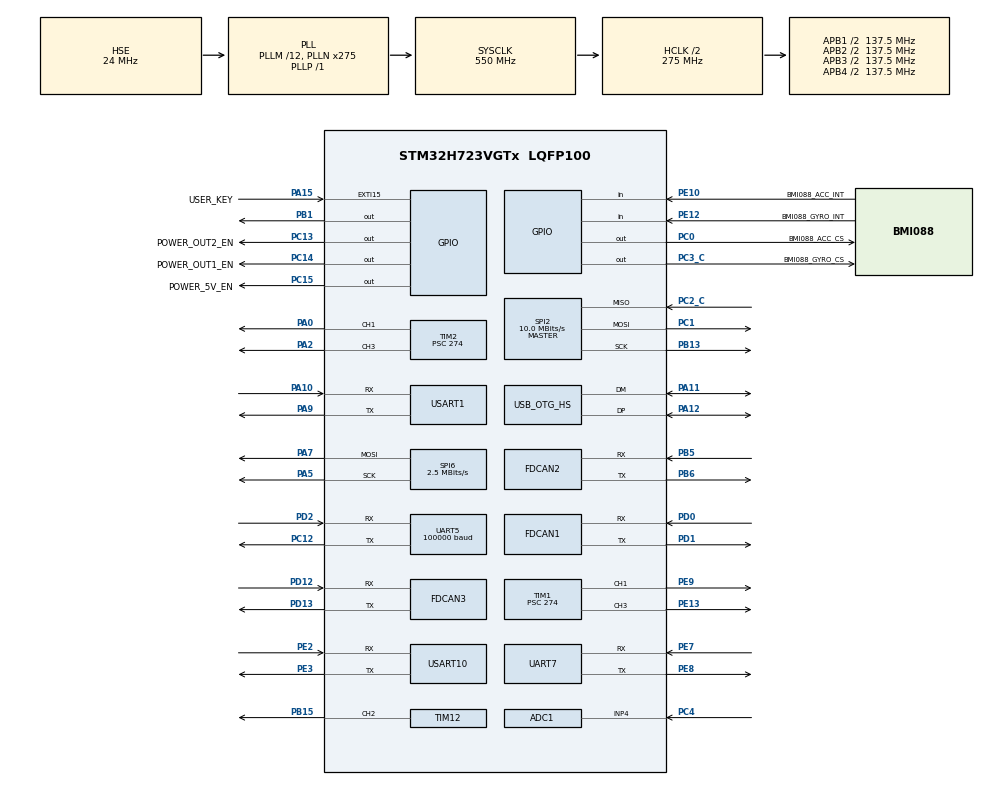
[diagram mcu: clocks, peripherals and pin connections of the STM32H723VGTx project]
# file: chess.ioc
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ADC1.Channel-0\#ChannelRegularConversion=ADC_CHANNEL_4
ADC1.ContinuousConvMode=ENABLE
ADC1.ConversionDataManagement=ADC_CONVERSIONDATA_DMA_CIRCULAR
ADC1.NbrOfConversionFlag=1
ADC1.OffsetNumber-0\#ChannelRegularConversion=ADC_OFFSET_NONE
ADC1.OffsetSignedSaturation-0\#ChannelRegularConversion=DISABLE
ADC1.Overrun=ADC_OVR_DATA_OVERWRITTEN
ADC1.Rank-0\#ChannelRegularConversion=1
ADC1.Resolution=ADC_RESOLUTION_12B
ADC1.SamplingTime-0\#ChannelRegularConversion=ADC_SAMPLETIME_1CYCLE_5
ADC1.master=1
Bdma.Request0=SPI6_TX
Bdma.RequestsNb=1
Bdma.SPI6_TX.0.Direction=DMA_MEMORY_TO_PERIPH
Bdma.SPI6_TX.0.EventEnable=DISABLE
Bdma.SPI6_TX.0.Instance=BDMA_Channel0
Bdma.SPI6_TX.0.MemDataAlignment=DMA_MDATAALIGN_BYTE
Bdma.SPI6_TX.0.MemInc=DMA_MINC_ENABLE
Bdma.SPI6_TX.0.Mode=DMA_NORMAL
Bdma.SPI6_TX.0.PeriphDataAlignment=DMA_PDATAALIGN_BYTE
Bdma.SPI6_TX.0.PeriphInc=DMA_PINC_DISABLE
Bdma.SPI6_TX.0.Polarity=HAL_DMAMUX_REQ_GEN_RISING
Bdma.SPI6_TX.0.Priority=DMA_PRIORITY_HIGH
Bdma.SPI6_TX.0.RequestNumber=1
Bdma.SPI6_TX.0.SignalID=NONE
Bdma.SPI6_TX.0.SyncEnable=DISABLE
Bdma.SPI6_TX.0.SyncPolarity=HAL_DMAMUX_SYNC_NO_EVENT
Bdma.SPI6_TX.0.SyncRequestNumber=1
Bdma.SPI6_TX.0.SyncSignalID=NONE
CORTEX_M7.CPU_ICache=Enabled
CORTEX_M7.default_mode_Activation=1
Dma.ADC1.8.Direction=DMA_PERIPH_TO_MEMORY
Dma.ADC1.8.EventEnable=DISABLE
Dma.ADC1.8.FIFOMode=DMA_FIFOMODE_DISABLE
Dma.ADC1.8.Instance=DMA2_Stream1
Dma.ADC1.8.MemDataAlignment=DMA_MDATAALIGN_HALFWORD
Dma.ADC1.8.MemInc=DMA_MINC_ENABLE
Dma.ADC1.8.Mode=DMA_CIRCULAR
Dma.ADC1.8.PeriphDataAlignment=DMA_PDATAALIGN_HALFWORD
Dma.ADC1.8.PeriphInc=DMA_PINC_DISABLE
Dma.ADC1.8.Polarity=HAL_DMAMUX_REQ_GEN_RISING
Dma.ADC1.8.Priority=DMA_PRIORITY_HIGH
Dma.ADC1.8.RequestNumber=1
Dma.ADC1.8.SignalID=NONE
Dma.ADC1.8.SyncEnable=DISABLE
Dma.ADC1.8.SyncPolarity=HAL_DMAMUX_SYNC_NO_EVENT
Dma.ADC1.8.SyncRequestNumber=1
Dma.ADC1.8.SyncSignalID=NONE
Dma.Request0=USART1_RX
Dma.Request1=USART1_TX
Dma.Request2=UART7_RX
Dma.Request3=UART7_TX
Dma.Request4=USART10_RX
Dma.Request5=USART10_TX
Dma.Request6=UART5_RX
Dma.Request7=SPI2_TX
Dma.Request8=ADC1
Dma.SPI2_TX.7.Direction=DMA_MEMORY_TO_PERIPH
Dma.SPI2_TX.7.EventEnable=DISABLE
Dma.SPI2_TX.7.FIFOMode=DMA_FIFOMODE_DISABLE
Dma.SPI2_TX.7.Instance=DMA2_Stream0
Dma.SPI2_TX.7.MemDataAlignment=DMA_MDATAALIGN_BYTE
Dma.SPI2_TX.7.MemInc=DMA_MINC_ENABLE
Dma.SPI2_TX.7.Mode=DMA_NORMAL
Dma.SPI2_TX.7.PeriphDataAlignment=DMA_PDATAALIGN_BYTE
Dma.SPI2_TX.7.PeriphInc=DMA_PINC_DISABLE
Dma.SPI2_TX.7.Polarity=HAL_DMAMUX_REQ_GEN_RISING
Dma.SPI2_TX.7.Priority=DMA_PRIORITY_HIGH
Dma.SPI2_TX.7.RequestNumber=1
Dma.SPI2_TX.7.SignalID=NONE
Dma.SPI2_TX.7.SyncEnable=DISABLE
Dma.SPI2_TX.7.SyncPolarity=HAL_DMAMUX_SYNC_NO_EVENT
Dma.SPI2_TX.7.SyncRequestNumber=1
Dma.SPI2_TX.7.SyncSignalID=NONE
Dma.UART5_RX.6.Direction=DMA_PERIPH_TO_MEMORY
Dma.UART5_RX.6.EventEnable=DISABLE
Dma.UART5_RX.6.FIFOMode=DMA_FIFOMODE_DISABLE
Dma.UART5_RX.6.Instance=DMA1_Stream6
Dma.UART5_RX.6.MemDataAlignment=DMA_MDATAALIGN_BYTE
Dma.UART5_RX.6.MemInc=DMA_MINC_ENABLE
Dma.UART5_RX.6.Mode=DMA_CIRCULAR
Dma.UART5_RX.6.PeriphDataAlignment=DMA_PDATAALIGN_BYTE
Dma.UART5_RX.6.PeriphInc=DMA_PINC_DISABLE
Dma.UART5_RX.6.Polarity=HAL_DMAMUX_REQ_GEN_RISING
Dma.UART5_RX.6.Priority=DMA_PRIORITY_VERY_HIGH
Dma.UART5_RX.6.RequestNumber=1
Dma.UART5_RX.6.SignalID=NONE
Dma.UART5_RX.6.SyncEnable=DISABLE
Dma.UART5_RX.6.SyncPolarity=HAL_DMAMUX_SYNC_NO_EVENT
Dma.UART5_RX.6.SyncRequestNumber=1
Dma.UART5_RX.6.SyncSignalID=NONE
Dma.UART7_RX.2.Direction=DMA_PERIPH_TO_MEMORY
Dma.UART7_RX.2.EventEnable=DISABLE
Dma.UART7_RX.2.FIFOMode=DMA_FIFOMODE_DISABLE
Dma.UART7_RX.2.Instance=DMA1_Stream2
Dma.UART7_RX.2.MemDataAlignment=DMA_MDATAALIGN_BYTE
Dma.UART7_RX.2.MemInc=DMA_MINC_ENABLE
Dma.UART7_RX.2.Mode=DMA_CIRCULAR
Dma.UART7_RX.2.PeriphDataAlignment=DMA_PDATAALIGN_BYTE
Dma.UART7_RX.2.PeriphInc=DMA_PINC_DISABLE
Dma.UART7_RX.2.Polarity=HAL_DMAMUX_REQ_GEN_RISING
Dma.UART7_RX.2.Priority=DMA_PRIORITY_MEDIUM
Dma.UART7_RX.2.RequestNumber=1
Dma.UART7_RX.2.SignalID=NONE
Dma.UART7_RX.2.SyncEnable=DISABLE
Dma.UART7_RX.2.SyncPolarity=HAL_DMAMUX_SYNC_NO_EVENT
Dma.UART7_RX.2.SyncRequestNumber=1
Dma.UART7_RX.2.SyncSignalID=NONE
Dma.UART7_TX.3.Direction=DMA_MEMORY_TO_PERIPH
Dma.UART7_TX.3.EventEnable=DISABLE
Dma.UART7_TX.3.FIFOMode=DMA_FIFOMODE_DISABLE
Dma.UART7_TX.3.Instance=DMA1_Stream3
Dma.UART7_TX.3.MemDataAlignment=DMA_MDATAALIGN_BYTE
Dma.UART7_TX.3.MemInc=DMA_MINC_ENABLE
Dma.UART7_TX.3.Mode=DMA_NORMAL
Dma.UART7_TX.3.PeriphDataAlignment=DMA_PDATAALIGN_BYTE
Dma.UART7_TX.3.PeriphInc=DMA_PINC_DISABLE
Dma.UART7_TX.3.Polarity=HAL_DMAMUX_REQ_GEN_RISING
Dma.UART7_TX.3.Priority=DMA_PRIORITY_HIGH
Dma.UART7_TX.3.RequestNumber=1
Dma.UART7_TX.3.SignalID=NONE
Dma.UART7_TX.3.SyncEnable=DISABLE
Dma.UART7_TX.3.SyncPolarity=HAL_DMAMUX_SYNC_NO_EVENT
Dma.UART7_TX.3.SyncRequestNumber=1
Dma.UART7_TX.3.SyncSignalID=NONE
Dma.USART10_RX.4.Direction=DMA_PERIPH_TO_MEMORY
Dma.USART10_RX.4.EventEnable=DISABLE
Dma.USART10_RX.4.FIFOMode=DMA_FIFOMODE_DISABLE
Dma.USART10_RX.4.Instance=DMA1_Stream4
Dma.USART10_RX.4.MemDataAlignment=DMA_MDATAALIGN_BYTE
Dma.USART10_RX.4.MemInc=DMA_MINC_ENABLE
Dma.USART10_RX.4.Mode=DMA_CIRCULAR
Dma.USART10_RX.4.PeriphDataAlignment=DMA_PDATAALIGN_BYTE
Dma.USART10_RX.4.PeriphInc=DMA_PINC_DISABLE
Dma.USART10_RX.4.Polarity=HAL_DMAMUX_REQ_GEN_RISING
Dma.USART10_RX.4.Priority=DMA_PRIORITY_MEDIUM
Dma.USART10_RX.4.RequestNumber=1
Dma.USART10_RX.4.SignalID=NONE
Dma.USART10_RX.4.SyncEnable=DISABLE
Dma.USART10_RX.4.SyncPolarity=HAL_DMAMUX_SYNC_NO_EVENT
Dma.USART10_RX.4.SyncRequestNumber=1
Dma.USART10_RX.4.SyncSignalID=NONE
Dma.USART10_TX.5.Direction=DMA_MEMORY_TO_PERIPH
Dma.USART10_TX.5.EventEnable=DISABLE
Dma.USART10_TX.5.FIFOMode=DMA_FIFOMODE_DISABLE
Dma.USART10_TX.5.Instance=DMA1_Stream5
Dma.USART10_TX.5.MemDataAlignment=DMA_MDATAALIGN_BYTE
Dma.USART10_TX.5.MemInc=DMA_MINC_ENABLE
Dma.USART10_TX.5.Mode=DMA_NORMAL
Dma.USART10_TX.5.PeriphDataAlignment=DMA_PDATAALIGN_BYTE
Dma.USART10_TX.5.PeriphInc=DMA_PINC_DISABLE
Dma.USART10_TX.5.Polarity=HAL_DMAMUX_REQ_GEN_RISING
Dma.USART10_TX.5.Priority=DMA_PRIORITY_HIGH
Dma.USART10_TX.5.RequestNumber=1
Dma.USART10_TX.5.SignalID=NONE
Dma.USART10_TX.5.SyncEnable=DISABLE
Dma.USART10_TX.5.SyncPolarity=HAL_DMAMUX_SYNC_NO_EVENT
Dma.USART10_TX.5.SyncRequestNumber=1
Dma.USART10_TX.5.SyncSignalID=NONE
Dma.USART1_RX.0.Direction=DMA_PERIPH_TO_MEMORY
Dma.USART1_RX.0.EventEnable=DISABLE
Dma.USART1_RX.0.FIFOMode=DMA_FIFOMODE_DISABLE
Dma.USART1_RX.0.Instance=DMA1_Stream0
Dma.USART1_RX.0.MemDataAlignment=DMA_MDATAALIGN_BYTE
Dma.USART1_RX.0.MemInc=DMA_MINC_ENABLE
Dma.USART1_RX.0.Mode=DMA_CIRCULAR
Dma.USART1_RX.0.PeriphDataAlignment=DMA_PDATAALIGN_BYTE
Dma.USART1_RX.0.PeriphInc=DMA_PINC_DISABLE
Dma.USART1_RX.0.Polarity=HAL_DMAMUX_REQ_GEN_RISING
Dma.USART1_RX.0.Priority=DMA_PRIORITY_MEDIUM
Dma.USART1_RX.0.RequestNumber=1
Dma.USART1_RX.0.SignalID=NONE
Dma.USART1_RX.0.SyncEnable=DISABLE
Dma.USART1_RX.0.SyncPolarity=HAL_DMAMUX_SYNC_NO_EVENT
Dma.USART1_RX.0.SyncRequestNumber=1
Dma.USART1_RX.0.SyncSignalID=NONE
Dma.USART1_TX.1.Direction=DMA_MEMORY_TO_PERIPH
Dma.USART1_TX.1.EventEnable=DISABLE
Dma.USART1_TX.1.FIFOMode=DMA_FIFOMODE_DISABLE
Dma.USART1_TX.1.Instance=DMA1_Stream1
Dma.USART1_TX.1.MemDataAlignment=DMA_MDATAALIGN_BYTE
Dma.USART1_TX.1.MemInc=DMA_MINC_ENABLE
Dma.USART1_TX.1.Mode=DMA_NORMAL
Dma.USART1_TX.1.PeriphDataAlignment=DMA_PDATAALIGN_BYTE
Dma.USART1_TX.1.PeriphInc=DMA_PINC_DISABLE
Dma.USART1_TX.1.Polarity=HAL_DMAMUX_REQ_GEN_RISING
Dma.USART1_TX.1.Priority=DMA_PRIORITY_HIGH
Dma.USART1_TX.1.RequestNumber=1
Dma.USART1_TX.1.SignalID=NONE
Dma.USART1_TX.1.SyncEnable=DISABLE
Dma.USART1_TX.1.SyncPolarity=HAL_DMAMUX_SYNC_NO_EVENT
Dma.USART1_TX.1.SyncRequestNumber=1
Dma.USART1_TX.1.SyncSignalID=NONE
FDCAN1.AutoRetransmission=ENABLE
FDCAN1.CalculateBaudRateNominal=1000000
FDCAN1.CalculateTimeBitNominal=1000
FDCAN1.CalculateTimeQuantumNominal=62.5
FDCAN1.ExtFiltersNbr=8
FDCAN1.NominalPrescaler=5
FDCAN1.NominalSyncJumpWidth=2
FDCAN1.NominalTimeSeg1=13
FDCAN1.NominalTimeSeg2=2
FDCAN1.RxFifo0ElmtsNbr=32
FDCAN1.StdFiltersNbr=16
FDCAN1.TxEventsNbr=8
FDCAN1.TxFifoQueueElmtsNbr=16
FDCAN2.AutoRetransmission=ENABLE
FDCAN2.CalculateBaudRateNominal=1000000
FDCAN2.CalculateTimeBitNominal=1000
FDCAN2.CalculateTimeQuantumNominal=62.5
FDCAN2.ExtFiltersNbr=8
FDCAN2.MessageRAMOffset=256
FDCAN2.NominalPrescaler=5
FDCAN2.NominalSyncJumpWidth=2
FDCAN2.NominalTimeSeg1=13
FDCAN2.NominalTimeSeg2=2
FDCAN2.RxFifo0ElmtsNbr=32
FDCAN2.StdFiltersNbr=16
FDCAN2.TxEventsNbr=8
FDCAN2.TxFifoQueueElmtsNbr=16
FDCAN3.AutoRetransmission=ENABLE
FDCAN3.CalculateBaudRateNominal=1000000
FDCAN3.CalculateTimeBitNominal=1000
FDCAN3.CalculateTimeQuantumNominal=62.5
FDCAN3.ExtFiltersNbr=8
FDCAN3.MessageRAMOffset=512
FDCAN3.NominalPrescaler=5
FDCAN3.NominalSyncJumpWidth=2
FDCAN3.NominalTimeSeg1=13
FDCAN3.NominalTimeSeg2=2
FDCAN3.RxFifo0ElmtsNbr=32
FDCAN3.StdFiltersNbr=16
FDCAN3.TransmitPause=DISABLE
FDCAN3.TxEventsNbr=8
FDCAN3.TxFifoQueueElmtsNbr=16
FREERTOS.Tasks01=sensor,40,128,seneor_task_entry,Default,NULL,Dynamic,NULL,NULL;printf,24,256,printf_entry,Default,NULL,Dynamic,NULL,NULL;usb,40,256,usb_entry,Default,NULL,Dynamic,NULL,NULL;test,40,256,test_task_entry,Default,NULL,Dynamic,NULL,NULL;vacuum,8,128,vacuum_entry,Default,NULL,Dynamic,NULL,NULL
FREERTOS.configCHECK_FOR_STACK_OVERFLOW=2
FREERTOS.configENABLE_FPU=1
FREERTOS.configTOTAL_HEAP_SIZE=32768
FREERTOS.configUSE_MALLOC_FAILED_HOOK=1
FREERTOS.configUSE_STATS_FORMATTING_FUNCTIONS=1
Mcu.Family=STM32H7
Mcu.Name=STM32H723VGTx
Mcu.Package=LQFP100
NVIC.BDMA_Channel0_IRQn=true\:5\:0\:false\:false\:true\:true\:false\:true\:true
NVIC.DMA1_Stream0_IRQn=true\:5\:0\:false\:false\:true\:true\:false\:true\:true
NVIC.DMA1_Stream1_IRQn=true\:5\:0\:false\:false\:true\:true\:false\:true\:true
NVIC.DMA1_Stream2_IRQn=true\:5\:0\:false\:false\:true\:true\:false\:true\:true
NVIC.DMA1_Stream3_IRQn=true\:5\:0\:false\:false\:true\:true\:false\:true\:true
NVIC.DMA1_Stream4_IRQn=true\:5\:0\:false\:false\:true\:true\:false\:true\:true
NVIC.DMA1_Stream5_IRQn=true\:5\:0\:false\:false\:true\:true\:false\:true\:true
NVIC.DMA1_Stream6_IRQn=true\:5\:0\:false\:false\:true\:true\:false\:true\:true
NVIC.DMA2_Stream0_IRQn=true\:5\:0\:false\:false\:true\:true\:false\:true\:true
NVIC.DMA2_Stream1_IRQn=true\:5\:0\:false\:false\:true\:true\:false\:true\:true
NVIC.EXTI15_10_IRQn=true\:5\:0\:false\:false\:true\:true\:true\:true\:true
NVIC.OTG_HS_IRQn=true\:5\:0\:false\:false\:true\:true\:true\:true\:true
NVIC.PriorityGroup=NVIC_PRIORITYGROUP_4
NVIC.SPI2_IRQn=true\:5\:0\:false\:false\:true\:true\:false\:true\:true
NVIC.SPI6_IRQn=true\:5\:0\:false\:false\:true\:true\:false\:true\:true
NVIC.TIM6_DAC_IRQn=true\:15\:0\:false\:false\:true\:false\:false\:true\:true
NVIC.TimeBase=TIM6_DAC_IRQn
NVIC.TimeBaseIP=TIM6
NVIC.UART5_IRQn=true\:5\:0\:false\:false\:true\:true\:true\:true\:true
NVIC.UART7_IRQn=true\:5\:0\:false\:false\:true\:true\:false\:true\:true
NVIC.USART10_IRQn=true\:5\:0\:false\:false\:true\:true\:false\:true\:true
NVIC.USART1_IRQn=true\:5\:0\:false\:false\:true\:true\:false\:true\:true
PA0.GPIO_Speed=GPIO_SPEED_FREQ_VERY_HIGH
PA0.Signal=S_TIM2_CH1_ETR
PA10.Mode=Asynchronous
PA10.Signal=USART1_RX
PA11.Mode=Device_Only_FS
PA11.Signal=USB_OTG_HS_DM
PA12.Mode=Device_Only_FS
PA12.Signal=USB_OTG_HS_DP
PA13(JTMS/SWDIO).Mode=Serial_Wire
PA13(JTMS/SWDIO).Signal=DEBUG_JTMS-SWDIO
PA14(JTCK/SWCLK).Mode=Serial_Wire
PA14(JTCK/SWCLK).Signal=DEBUG_JTCK-SWCLK
PA15(JTDI).GPIO_Label=USER_KEY
PA15(JTDI).GPIO_ModeDefaultEXTI=GPIO_MODE_IT_FALLING
PA15(JTDI).GPIO_PuPd=GPIO_NOPULL
PA15(JTDI).Signal=GPXTI15
PA2.GPIO_Speed=GPIO_SPEED_FREQ_VERY_HIGH
PA2.Signal=S_TIM2_CH3
PA5.Mode=TX_Only_Simplex_Unidirect_Master
PA5.Signal=SPI6_SCK
PA7.GPIO_Speed=GPIO_SPEED_FREQ_VERY_HIGH
PA7.Mode=TX_Only_Simplex_Unidirect_Master
PA7.Signal=SPI6_MOSI
PA9.Mode=Asynchronous
PA9.Signal=USART1_TX
PB1.Signal=GPIO_Output
PB13.Mode=Full_Duplex_Master
PB13.Signal=SPI2_SCK
PB15.Signal=S_TIM12_CH2
PB5.Mode=FDCAN_Activate
PB5.Signal=FDCAN2_RX
PB6.Mode=FDCAN_Activate
PB6.Signal=FDCAN2_TX
PC0.GPIO_Label=BMI088_ACC_CS
PC0.GPIO_ModeDefaultOutputPP=GPIO_MODE_OUTPUT_PP
PC0.GPIO_Speed=GPIO_SPEED_FREQ_HIGH
PC0.PinState=GPIO_PIN_SET
PC0.Signal=GPIO_Output
PC1.Mode=Full_Duplex_Master
PC1.Signal=SPI2_MOSI
PC12.Mode=Asynchronous
PC12.Signal=UART5_TX
PC13.GPIO_Label=POWER_OUT2_EN
PC13.GPIO_PuPd=GPIO_NOPULL
PC13.Signal=GPIO_Output
PC14-OSC32_IN.GPIO_Label=POWER_OUT1_EN
PC14-OSC32_IN.Signal=GPIO_Output
PC15-OSC32_OUT.GPIO_Label=POWER_5V_EN
PC15-OSC32_OUT.Signal=GPIO_Output
PC2_C.Mode=Full_Duplex_Master
PC2_C.Signal=SPI2_MISO
PC3_C.GPIO_Label=BMI088_GYRO_CS
PC3_C.GPIO_Speed=GPIO_SPEED_FREQ_VERY_HIGH
PC3_C.PinState=GPIO_PIN_SET
PC3_C.Signal=GPIO_Output
PC4.Signal=ADCx_INP4
PD0.Mode=FDCAN_Activate
PD0.Signal=FDCAN1_RX
PD1.Mode=FDCAN_Activate
PD1.Signal=FDCAN1_TX
PD12.Mode=FDCAN_Activate
PD12.Signal=FDCAN3_RX
PD13.Mode=FDCAN_Activate
PD13.Signal=FDCAN3_TX
PD2.Mode=Asynchronous
PD2.Signal=UART5_RX
PE10.GPIO_Label=BMI088_ACC_INT
PE10.Signal=GPIO_Input
PE12.GPIO_Label=BMI088_GYRO_INT
PE12.Signal=GPIO_Input
PE13.Signal=S_TIM1_CH3
PE2.Mode=Asynchronous
PE2.Signal=USART10_RX
PE3.Mode=Asynchronous
PE3.Signal=USART10_TX
PE7.Mode=Asynchronous
PE7.Signal=UART7_RX
PE8.Mode=Asynchronous
PE8.Signal=UART7_TX
PE9.Signal=S_TIM1_CH1
PH0-OSC_IN.Mode=HSE-External-Oscillator
PH0-OSC_IN.Signal=RCC_OSC_IN
PH1-OSC_OUT.Mode=HSE-External-Oscillator
PH1-OSC_OUT.Signal=RCC_OSC_OUT
ProjectManager.HeapSize=0x200
ProjectManager.StackSize=0x400
ProjectManager.TargetToolchain=CMake
RCC.ADCFreq_Value=160000000
RCC.APB1Freq_Value=137500000
RCC.APB2Freq_Value=137500000
RCC.APB3Freq_Value=137500000
RCC.APB4Freq_Value=137500000
RCC.CortexFreq_Value=550000000
RCC.D1PPRE=RCC_APB3_DIV2
RCC.D2PPRE1=RCC_APB1_DIV2
RCC.D2PPRE2=RCC_APB2_DIV2
RCC.D3PPRE=RCC_APB4_DIV2
RCC.DIVM1=12
RCC.DIVM2=12
RCC.DIVM3=12
RCC.DIVN1=275
RCC.DIVN2=160
RCC.DIVN3=120
RCC.DIVP1=1
RCC.DIVP3=3
RCC.DIVQ1=5
RCC.DIVQ2=4
RCC.DIVQ3=5
RCC.FDCANCLockSelection=RCC_FDCANCLKSOURCE_PLL2
RCC.HCLKFreq_Value=275000000
RCC.HPRE=RCC_HCLK_DIV2
RCC.HSE_VALUE=24000000
RCC.PLL1_VCI_Range-AdvancedSettings=RCC_PLL1VCIRANGE_3
RCC.PLL2FRACN=0
RCC.PLL3FRACN=0
RCC.PLLFRACN=0
RCC.PLLSourceVirtual=RCC_PLLSOURCE_HSE
RCC.SPI123CLockSelection=RCC_SPI123CLKSOURCE_PLL3
RCC.SPI6CLockSelection=RCC_SPI6CLKSOURCE_PLL2
RCC.SYSCLKFreq_VALUE=550000000
RCC.SYSCLKSource=RCC_SYSCLKSOURCE_PLLCLK
RCC.USBCLockSelection=RCC_USBCLKSOURCE_PLL3
RCC.USBFreq_Value=48000000
SH.ADCx_INP4.0=ADC1_INP4,IN4-Single-Ended
SH.S_TIM12_CH2.0=TIM12_CH2,PWM Generation2 CH2
SH.S_TIM1_CH1.0=TIM1_CH1,PWM Generation1 CH1
SH.S_TIM1_CH3.0=TIM1_CH3,PWM Generation3 CH3
SH.S_TIM2_CH1_ETR.0=TIM2_CH1,PWM Generation1 CH1
SH.S_TIM2_CH3.0=TIM2_CH3,PWM Generation3 CH3
SPI2.BaudRatePrescaler=SPI_BAUDRATEPRESCALER_8
SPI2.CalculateBaudRate=10.0 MBits/s
SPI2.DataSize=SPI_DATASIZE_8BIT
SPI2.Direction=SPI_DIRECTION_2LINES
SPI2.MasterKeepIOState=SPI_MASTER_KEEP_IO_STATE_ENABLE
SPI2.Mode=SPI_MODE_MASTER
SPI2.NSSPMode=SPI_NSS_PULSE_DISABLE
SPI2.VirtualType=VM_MASTER
SPI6.BaudRatePrescaler=SPI_BAUDRATEPRESCALER_32
SPI6.CalculateBaudRate=2.5 MBits/s
SPI6.DataSize=SPI_DATASIZE_8BIT
SPI6.Direction=SPI_DIRECTION_2LINES_TXONLY
SPI6.MasterKeepIOState=SPI_MASTER_KEEP_IO_STATE_ENABLE
SPI6.Mode=SPI_MODE_MASTER
SPI6.NSSPMode=SPI_NSS_PULSE_DISABLE
SPI6.VirtualType=VM_MASTER
TIM1.AutoReloadPreload=TIM_AUTORELOAD_PRELOAD_ENABLE
TIM1.Channel-PWM\ Generation1\ CH1=TIM_CHANNEL_1
TIM1.Channel-PWM\ Generation3\ CH3=TIM_CHANNEL_3
TIM1.Period=19999
TIM1.Prescaler=274
TIM12.AutoReloadPreload=TIM_AUTORELOAD_PRELOAD_ENABLE
TIM12.Channel-PWM\ Generation2\ CH2=TIM_CHANNEL_2
TIM12.Period=249
TIM12.Prescaler=274
TIM2.AutoReloadPreload=TIM_AUTORELOAD_PRELOAD_ENABLE
TIM2.Channel-PWM\ Generation1\ CH1=TIM_CHANNEL_1
TIM2.Channel-PWM\ Generation3\ CH3=TIM_CHANNEL_3
TIM2.Period=19999
TIM2.Prescaler=274
TIM3.AutoReloadPreload=TIM_AUTORELOAD_PRELOAD_ENABLE
TIM3.Period=49
TIM3.Prescaler=274
UART5.BaudRate=100000
UART5.Mode=MODE_RX
UART5.Parity=PARITY_EVEN
UART5.StopBits=UART_STOPBITS_2
UART5.WordLength=WORDLENGTH_9B
USART1.VirtualMode-Asynchronous=VM_ASYNC
USART10.VirtualMode=VM_ASYNC
USB_DEVICE.CLASS_NAME_HS=CDC
USB_DEVICE.USBD_LPM_ENABLED=0
USB_DEVICE.USBD_SELF_POWERED=0
USB_DEVICE.VirtualMode=Cdc
USB_DEVICE.VirtualModeHS=Cdc_HS
USB_OTG_HS.VirtualMode-Device_Only_FS=Device_Only_FS
VP_FREERTOS_VS_CMSIS_V2.Mode=CMSIS_V2
VP_MEMORYMAP_VS_MEMORYMAP.Mode=CurAppReg
VP_SYS_VS_tim6.Mode=TIM6
VP_TIM12_VS_ClockSourceINT.Mode=Internal
VP_TIM1_VS_ClockSourceINT.Mode=Internal
VP_TIM2_VS_ClockSourceINT.Mode=Internal
VP_TIM3_VS_ClockSourceINT.Mode=Internal
VP_USB_DEVICE_VS_USB_DEVICE_CDC_HS.Mode=CDC_HS
board=custom

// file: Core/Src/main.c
/* USER CODE BEGIN Header */
/**
  ******************************************************************************
  * @file           : main.c
  * @brief          : Main program body
  ******************************************************************************
  * @attention
  *
  * Copyright (c) 2026 STMicroelectronics.
  * All rights reserved.
  *
  * This software is licensed under terms that can be found in the LICENSE file
  * in the root directory of this software component.
  * If no LICENSE file comes with this software, it is provided AS-IS.
  *
  ******************************************************************************
  */
/* USER CODE END Header */
#include "main.h"
#include "FreeRTOS.h"
#include "cmsis_os2.h"
#include "adc.h"
#include "bdma.h"
#include "dma.h"
#include "fdcan.h"
#include "spi.h"
#include "tim.h"
#include "usart.h"
#include "usb_device.h"
#include "gpio.h"

/* USER CODE BEGIN Includes */

# include "../../bsp/LED/LED.h"
# include "../../bsp/can/can.h"
#include "../../bsp/pwm/pwm.h"
# include "../../device/motor/motor.h"

/* USER CODE END Includes */

void SystemClock_Config(void);
void PeriphCommonClock_Config(void);
static void MPU_Config(void);
void MX_FREERTOS_Init(void);

int main(void)
{

  /* MPU Configuration--------------------------------------------------------*/
  MPU_Config();

  /* Enable the CPU Cache */

  /* Enable I-Cache---------------------------------------------------------*/
  SCB_EnableICache();

  /* MCU Configuration--------------------------------------------------------*/

  /* Reset of all peripherals, Initializes the Flash interface and the Systick. */
  HAL_Init();

  /* Configure the system clock */
  SystemClock_Config();

  /* Configure the peripherals common clocks */
  PeriphCommonClock_Config();

  /* Initialize all configured peripherals */
  MX_GPIO_Init();
  MX_DMA_Init();
  MX_BDMA_Init();
  MX_UART7_Init();
  MX_USART10_UART_Init();
  MX_USART1_UART_Init();
  MX_FDCAN1_Init();
  MX_FDCAN2_Init();
  MX_FDCAN3_Init();
  MX_SPI6_Init();
  MX_TIM1_Init();
  MX_TIM2_Init();
  MX_UART5_Init();
  MX_SPI2_Init();
  MX_TIM12_Init();
  MX_ADC1_Init();
  MX_TIM3_Init();
  /* USER CODE BEGIN 2 */
   LED_init();
   can_init();
   Motor_System_PowerOn_Init();
  // HAL_GPIO_WritePin(GPIOC, GPIO_PIN_15, GPIO_PIN_SET);
   LED_YELLOW_SET();
   // HAL_Delay(2000);
   // LED_off();
  pwm_power_enable();
  pwm_set_pulse_us(PWM_CHANNEL_1, 20000U);

  /* USER CODE END 2 */

  /* Init scheduler */
  osKernelInitialize();  /* Call init function for freertos objects (in cmsis_os2.c) */
  MX_FREERTOS_Init();

  /* Start scheduler */
  osKernelStart();

  /* We should never get here as control is now taken by the scheduler */

  /* Infinite loop */
  while (1)
  {

  }
}

void SystemClock_Config(void)
{
  RCC_OscInitTypeDef RCC_OscInitStruct = {0};
  RCC_ClkInitTypeDef RCC_ClkInitStruct = {0};

  /** Supply configuration update enable
  */
  HAL_PWREx_ConfigSupply(PWR_LDO_SUPPLY);

  /** Configure the main internal regulator output voltage
  */
  __HAL_PWR_VOLTAGESCALING_CONFIG(PWR_REGULATOR_VOLTAGE_SCALE0);

  while(!__HAL_PWR_GET_FLAG(PWR_FLAG_VOSRDY)) {}

  /** Initializes the RCC Oscillators according to the specified parameters
  * in the RCC_OscInitTypeDef structure.
  */
  RCC_OscInitStruct.OscillatorType = RCC_OSCILLATORTYPE_HSE;
  RCC_OscInitStruct.HSEState = RCC_HSE_ON;
  RCC_OscInitStruct.PLL.PLLState = RCC_PLL_ON;
  RCC_OscInitStruct.PLL.PLLSource = RCC_PLLSOURCE_HSE;
  RCC_OscInitStruct.PLL.PLLM = 12;
  RCC_OscInitStruct.PLL.PLLN = 275;
  RCC_OscInitStruct.PLL.PLLP = 1;
  RCC_OscInitStruct.PLL.PLLQ = 5;
  RCC_OscInitStruct.PLL.PLLR = 2;
  RCC_OscInitStruct.PLL.PLLRGE = RCC_PLL1VCIRANGE_1;
  RCC_OscInitStruct.PLL.PLLVCOSEL = RCC_PLL1VCOWIDE;
  RCC_OscInitStruct.PLL.PLLFRACN = 0;
  if (HAL_RCC_OscConfig(&RCC_OscInitStruct) != HAL_OK)
  {
    Error_Handler();
  }

  /** Initializes the CPU, AHB and APB buses clocks
  */
  RCC_ClkInitStruct.ClockType = RCC_CLOCKTYPE_HCLK|RCC_CLOCKTYPE_SYSCLK
                              |RCC_CLOCKTYPE_PCLK1|RCC_CLOCKTYPE_PCLK2
                              |RCC_CLOCKTYPE_D3PCLK1|RCC_CLOCKTYPE_D1PCLK1;
  RCC_ClkInitStruct.SYSCLKSource = RCC_SYSCLKSOURCE_PLLCLK;
  RCC_ClkInitStruct.SYSCLKDivider = RCC_SYSCLK_DIV1;
  RCC_ClkInitStruct.AHBCLKDivider = RCC_HCLK_DIV2;
  RCC_ClkInitStruct.APB3CLKDivider = RCC_APB3_DIV2;
  RCC_ClkInitStruct.APB1CLKDivider = RCC_APB1_DIV2;
  RCC_ClkInitStruct.APB2CLKDivider = RCC_APB2_DIV2;
  RCC_ClkInitStruct.APB4CLKDivider = RCC_APB4_DIV2;

  if (HAL_RCC_ClockConfig(&RCC_ClkInitStruct, FLASH_LATENCY_3) != HAL_OK)
  {
    Error_Handler();
  }
}

void PeriphCommonClock_Config(void)
{
  RCC_PeriphCLKInitTypeDef PeriphClkInitStruct = {0};

  /** Initializes the peripherals clock
  */
  PeriphClkInitStruct.PeriphClockSelection = RCC_PERIPHCLK_USB|RCC_PERIPHCLK_SPI6
                              |RCC_PERIPHCLK_ADC|RCC_PERIPHCLK_SPI2
                              |RCC_PERIPHCLK_FDCAN;
  PeriphClkInitStruct.PLL2.PLL2M = 12;
  PeriphClkInitStruct.PLL2.PLL2N = 160;
  PeriphClkInitStruct.PLL2.PLL2P = 2;
  PeriphClkInitStruct.PLL2.PLL2Q = 4;
  PeriphClkInitStruct.PLL2.PLL2R = 2;
  PeriphClkInitStruct.PLL2.PLL2RGE = RCC_PLL2VCIRANGE_1;
  PeriphClkInitStruct.PLL2.PLL2VCOSEL = RCC_PLL2VCOWIDE;
  PeriphClkInitStruct.PLL2.PLL2FRACN = 0;
  PeriphClkInitStruct.PLL3.PLL3M = 12;
  PeriphClkInitStruct.PLL3.PLL3N = 120;
  PeriphClkInitStruct.PLL3.PLL3P = 3;
  PeriphClkInitStruct.PLL3.PLL3Q = 5;
  PeriphClkInitStruct.PLL3.PLL3R = 2;
  PeriphClkInitStruct.PLL3.PLL3RGE = RCC_PLL3VCIRANGE_1;
  PeriphClkInitStruct.PLL3.PLL3VCOSEL = RCC_PLL3VCOWIDE;
  PeriphClkInitStruct.PLL3.PLL3FRACN = 0;
  PeriphClkInitStruct.Spi123ClockSelection = RCC_SPI123CLKSOURCE_PLL3;
  PeriphClkInitStruct.FdcanClockSelection = RCC_FDCANCLKSOURCE_PLL2;
  PeriphClkInitStruct.UsbClockSelection = RCC_USBCLKSOURCE_PLL3;
  PeriphClkInitStruct.AdcClockSelection = RCC_ADCCLKSOURCE_PLL2;
  PeriphClkInitStruct.Spi6ClockSelection = RCC_SPI6CLKSOURCE_PLL2;
  if (HAL_RCCEx_PeriphCLKConfig(&PeriphClkInitStruct) != HAL_OK)
  {
    Error_Handler();
  }
}

 /* MPU Configuration */

void MPU_Config(void)
{
  MPU_Region_InitTypeDef MPU_InitStruct = {0};

  /* Disables the MPU */
  HAL_MPU_Disable();

  /** Initializes and configures the Region and the memory to be protected
  */
  MPU_InitStruct.Enable = MPU_REGION_ENABLE;
  MPU_InitStruct.Number = MPU_REGION_NUMBER0;
  MPU_InitStruct.BaseAddress = 0x0;
  MPU_InitStruct.Size = MPU_REGION_SIZE_4GB;
  MPU_InitStruct.SubRegionDisable = 0x87;
  MPU_InitStruct.TypeExtField = MPU_TEX_LEVEL0;
  MPU_InitStruct.AccessPermission = MPU_REGION_NO_ACCESS;
  MPU_InitStruct.DisableExec = MPU_INSTRUCTION_ACCESS_DISABLE;
  MPU_InitStruct.IsShareable = MPU_ACCESS_SHAREABLE;
  MPU_InitStruct.IsCacheable = MPU_ACCESS_NOT_CACHEABLE;
  MPU_InitStruct.IsBufferable = MPU_ACCESS_NOT_BUFFERABLE;

  HAL_MPU_ConfigRegion(&MPU_InitStruct);
  /* Enables the MPU */
  HAL_MPU_Enable(MPU_PRIVILEGED_DEFAULT);

}

void HAL_TIM_PeriodElapsedCallback(TIM_HandleTypeDef *htim)
{
  if (htim->Instance == TIM6)
  {
    HAL_IncTick();
  }
}

void Error_Handler(void)
{
  __disable_irq();
  while (1)
  {
  }
}

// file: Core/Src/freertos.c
/* USER CODE BEGIN Header */
/**
  ******************************************************************************
  * File Name          : freertos.c
  * Description        : Code for freertos applications
  ******************************************************************************
  * @attention
  *
  * Copyright (c) 2026 STMicroelectronics.
  * All rights reserved.
  *
  * This software is licensed under terms that can be found in the LICENSE file
  * in the root directory of this software component.
  * If no LICENSE file comes with this software, it is provided AS-IS.
  *
  ******************************************************************************
  */
/* USER CODE END Header */

#include "FreeRTOS.h"
#include "task.h"
#include "main.h"
#include "FreeRTOS.h"
#include "cmsis_os2.h"

/* USER CODE BEGIN Includes */
#include "../../task/all_task.h"
#include "../../device/motor/motor.h"
#include "../../application/global_data.h"
/* USER CODE END Includes */

/* Definitions for sensor */
osThreadId_t sensorHandle;
const osThreadAttr_t sensor_attributes = {
  .name = "sensor",
  .stack_size = 128 * 4,
  .priority = (osPriority_t) osPriorityHigh,
};
/* Definitions for printf */
osThreadId_t printfHandle;
const osThreadAttr_t printf_attributes = {
  .name = "printf",
  .stack_size = 256 * 4,
  .priority = (osPriority_t) osPriorityNormal,
};
/* Definitions for usb */
osThreadId_t usbHandle;
const osThreadAttr_t usb_attributes = {
  .name = "usb",
  .stack_size = 256 * 4,
  .priority = (osPriority_t) osPriorityHigh,
};
/* Definitions for test */
osThreadId_t testHandle;
const osThreadAttr_t test_attributes = {
  .name = "test",
  .stack_size = 256 * 4,
  .priority = (osPriority_t) osPriorityHigh,
};
/* Definitions for vacuum */
osThreadId_t vacuumHandle;
const osThreadAttr_t vacuum_attributes = {
  .name = "vacuum",
  .stack_size = 128 * 4,
  .priority = (osPriority_t) osPriorityLow,
};

void seneor_task_entry(void *argument);
void printf_entry(void *argument);
void usb_entry(void *argument);
void test_task_entry(void *argument);
void vacuum_entry(void *argument);

extern void MX_USB_DEVICE_Init(void);
void MX_FREERTOS_Init(void); /* (MISRA C 2004 rule 8.1) */

/* Hook prototypes */
void vApplicationStackOverflowHook(xTaskHandle xTask, char *pcTaskName);
void vApplicationMallocFailedHook(void);

/* USER CODE BEGIN 4 */
void vApplicationStackOverflowHook(xTaskHandle xTask, char *pcTaskName)
{
   /* Run time stack overflow checking is performed if
   configCHECK_FOR_STACK_OVERFLOW is defined to 1 or 2. This hook function is
   called if a stack overflow is detected. */
}
/* USER CODE END 4 */

/* USER CODE BEGIN 5 */
void vApplicationMallocFailedHook(void)
{
   /* vApplicationMallocFailedHook() will only be called if
   configUSE_MALLOC_FAILED_HOOK is set to 1 in FreeRTOSConfig.h. It is a hook
   function that will get called if a call to pvPortMalloc() fails.
   pvPortMalloc() is called internally by the kernel whenever a task, queue,
   timer or semaphore is created. It is also called by various parts of the
   demo application. If heap_1.c or heap_2.c are used, then the size of the
   heap available to pvPortMalloc() is defined by configTOTAL_HEAP_SIZE in
   FreeRTOSConfig.h, and the xPortGetFreeHeapSize() API function can be used
   to query the size of free heap space that remains (although it does not
   provide information on how the remaining heap might be fragmented). */
}
/* USER CODE END 5 */

void MX_FREERTOS_Init(void) {
  /* USER CODE BEGIN Init */
  question_number_uart7_init();
  /* USER CODE END Init */

  /* Create the thread(s) */
  /* creation of sensor */
  sensorHandle = osThreadNew(seneor_task_entry, NULL, &sensor_attributes);

  /* creation of printf */
  printfHandle = osThreadNew(printf_entry, NULL, &printf_attributes);

  /* creation of usb */
  usbHandle = osThreadNew(usb_entry, NULL, &usb_attributes);

  /* creation of test */
  testHandle = osThreadNew(test_task_entry, NULL, &test_attributes);

  /* creation of vacuum */
  vacuumHandle = osThreadNew(vacuum_entry, NULL, &vacuum_attributes);

}

void seneor_task_entry(void *argument)
{
  /* init code for USB_DEVICE */
  MX_USB_DEVICE_Init();
  /* USER CODE BEGIN seneor_task_entry */
  sensor_task();
  /* Infinite loop */
  for(;;)
  {
    osDelay(1);
  }
  /* USER CODE END seneor_task_entry */
}

void printf_entry(void *argument)
{
  /* USER CODE BEGIN printf_entry */
  printf_task();
  /* Infinite loop */
  for(;;)
  {
    osDelay(1);
  }
  /* USER CODE END printf_entry */
}

void usb_entry(void *argument)
{
  /* USER CODE BEGIN usb_entry */
  usb_task();
  /* Infinite loop */
  for(;;)
  {
    osDelay(1);
  }
  /* USER CODE END usb_entry */
}

void test_task_entry(void *argument)
{
  /* USER CODE BEGIN test_task_entry */
  test_task();
  /* Infinite loop */
  for(;;)
  {
    osDelay(1);
  }
  /* USER CODE END test_task_entry */
}

void vacuum_entry(void *argument)
{
  /* USER CODE BEGIN vacuum_entry */
  vacuum_task();
  /* Infinite loop */
  for(;;)
  {
    osDelay(1);
  }
  /* USER CODE END vacuum_entry */
}
